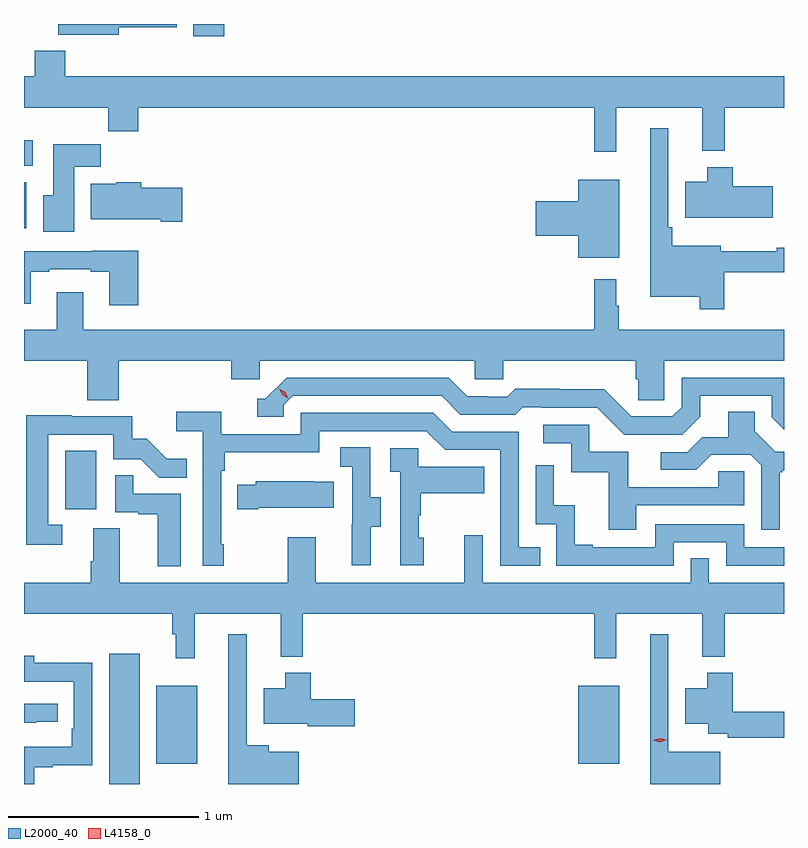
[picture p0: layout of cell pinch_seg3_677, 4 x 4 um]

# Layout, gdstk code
import gdstk
lib = gdstk.Library(unit=1e-6, precision=1e-09)
def R(c, l, rs):  # rectangles x0, y0, x1, y1
    for r in rs: c.add(gdstk.rectangle(r[:2], r[2:], *l))
def P(c, l, *ps):  # polygons
    for p in ps: c.add(gdstk.Polygon(p, *l))
L2000_40 = (2000, 40)
L4158_0 = (4158, 0)

pinch_seg3_677 = lib.new_cell('pinch_seg3_677')
R(pinch_seg3_677, L2000_40, [(1130.141,669.384,1130.302,670.069), (1130.39,669.491,1130.605,669.901), (1132.61,669.491,1132.825,669.901), (1129.91,670.83,1130.074,671.137), (1129.693,672.308,1129.705,672.55), (1129.693,672.638,1129.738,672.772), (1130.585,673.32,1130.746,673.384)])
P(pinch_seg3_677, L2000_40, [(1130.191,673.366),(1130.496,673.366),(1130.496,673.384),(1129.873,673.384),(1129.873,673.328),(1130.191,673.328)],
  [(1132.811,672.944),(1133.264,672.944),(1133.264,672.716),(1133.381,672.716),(1133.381,672.944),(1133.693,672.944),(1133.693,673.108),(1129.91,673.108),(1129.91,673.243),(1129.75,673.243),(1129.75,673.108),(1129.693,673.108),(1129.693,672.944),(1130.137,672.944),(1130.137,672.82),(1130.294,672.82),(1130.294,672.944),(1132.693,672.944),(1132.693,672.711),(1132.811,672.711)],
  [(1133.378,672.078),(1133.693,672.078),(1133.693,672.206),(1133.655,672.206),(1133.655,672.187),(1133.359,672.187),(1133.359,672.217),(1133.105,672.217),(1133.105,672.313),(1133.085,672.313),(1133.085,672.835),(1132.988,672.835),(1132.988,671.948),(1133.25,671.948),(1133.25,671.883),(1133.378,671.883)],
  [(1129.957,672.632),(1130.096,672.632),(1130.096,672.751),(1129.847,672.751),(1129.847,672.484),(1129.793,672.484),(1129.793,672.291),(1129.957,672.291)],
  [(1133.635,672.531),(1133.423,672.531),(1133.423,672.631),(1133.288,672.631),(1133.288,672.553),(1133.174,672.553),(1133.174,672.365),(1133.635,672.365)],
  [(1132.825,672.565),(1132.61,672.565),(1132.61,672.452),(1132.386,672.452),(1132.386,672.269),(1132.61,672.269),(1132.61,672.155),(1132.825,672.155)],
  [(1130.527,672.522),(1130.309,672.522),(1130.309,672.55),(1130.178,672.55),(1130.178,672.544),(1130.045,672.544),(1130.045,672.356),(1130.414,672.356),(1130.414,672.344),(1130.527,672.344)],
  [(1130.294,672.19),(1130.049,672.19),(1130.049,672.189),(1129.693,672.189),(1129.693,671.912),(1129.729,671.912),(1129.729,672.081),(1129.825,672.081),(1129.825,672.093),(1130.045,672.093),(1130.045,672.081),(1130.141,672.081),(1130.141,671.904),(1130.294,671.904)],
  [(1130.192,671.612),(1130.783,671.612),(1130.783,671.514),(1130.934,671.514),(1130.934,671.612),(1132.065,671.612),(1132.065,671.514),(1132.215,671.514),(1132.215,671.612),(1132.913,671.612),(1132.913,671.514),(1132.927,671.514),(1132.927,671.404),(1133.064,671.404),(1133.064,671.612),(1133.693,671.612),(1133.693,671.776),(1132.822,671.776),(1132.822,671.9),(1132.81,671.9),(1132.81,672.04),(1132.693,672.04),(1132.693,671.776),(1130.005,671.776),(1130.005,671.971),(1129.865,671.971),(1129.865,671.776),(1129.693,671.776),(1129.693,671.612),(1130.027,671.612),(1130.027,671.404),(1130.192,671.404)],
  [(1133.251,671.317),(1133.251,671.427),(1133.628,671.427),(1133.628,671.313),(1133.693,671.248),(1133.693,671.523),(1133.154,671.523),(1133.154,671.367),(1133.106,671.319),(1132.89,671.319),(1132.748,671.461),(1132.512,671.461),(1132.512,671.464),(1132.279,671.464),(1132.237,671.421),(1132.134,671.421),(1132.134,671.424),(1132.027,671.424),(1131.928,671.523),(1131.075,671.523),(1130.964,671.412),(1130.921,671.412),(1130.921,671.316),(1131.06,671.316),(1131.06,671.379),(1131.108,671.427),(1131.891,671.427),(1131.99,671.328),(1132.279,671.328),(1132.318,671.367),(1132.417,671.367),(1132.417,671.364),(1132.71,671.364),(1132.851,671.223),(1133.157,671.223)],
  [(1133.671,671.025),(1133.683,671.025),(1133.683,671.036),(1133.693,671.036),(1133.693,671.133),(1133.646,671.133),(1133.539,671.24),(1133.539,671.342),(1133.399,671.342),(1133.399,671.21),(1133.264,671.21),(1133.184,671.13),(1133.043,671.13),(1133.043,671.037),(1133.23,671.037),(1133.311,671.118),(1133.517,671.118),(1133.574,671.061),(1133.574,670.722),(1133.671,670.722)],
  [(1130.743,670.645),(1130.73,670.645),(1130.73,671.033),(1130.75,671.033),(1130.75,671.129),(1131.246,671.129),(1131.246,671.241),(1131.81,671.241),(1131.909,671.142),(1132.2,671.142),(1132.2,670.533),(1132.409,670.533),(1132.409,670.629),(1132.296,670.629),(1132.296,671.238),(1131.946,671.238),(1131.847,671.337),(1131.15,671.337),(1131.15,671.226),(1130.732,671.226),(1130.732,671.342),(1130.493,671.342),(1130.493,671.24),(1130.634,671.24),(1130.634,670.533),(1130.743,670.533)],
  [(1129.894,670.749),(1129.821,670.749),(1129.821,671.223),(1130.163,671.223),(1130.163,671.094),(1130.308,671.094),(1130.406,670.996),(1130.549,670.996),(1130.549,671.095),(1130.445,671.095),(1130.338,671.202),(1130.262,671.202),(1130.262,671.319),(1129.943,671.319),(1129.943,671.324),(1129.705,671.324),(1129.705,670.644),(1129.894,670.644)],
  [(1132.915,670.851),(1133.484,670.851),(1133.484,671.031),(1133.347,671.031),(1133.347,670.947),(1132.873,670.947),(1132.873,671.133),(1132.668,671.133),(1132.668,671.274),(1132.425,671.274),(1132.425,671.178),(1132.572,671.178),(1132.572,671.025),(1132.771,671.025),(1132.771,670.722),(1132.915,670.722)],
  [(1131.517,670.738),(1131.571,670.738),(1131.571,670.893),(1131.516,670.893),(1131.516,671.156),(1131.357,671.156),(1131.357,671.053),(1131.42,671.053),(1131.42,670.749),(1131.419,670.749),(1131.419,670.536),(1131.517,670.536)],
  [(1131.796,670.68),(1131.771,670.68),(1131.771,670.799),(1131.781,670.799),(1131.781,670.913),(1132.115,670.913),(1132.115,671.053),(1131.768,671.053),(1131.768,671.151),(1131.621,671.151),(1131.621,671.027),(1131.672,671.027),(1131.672,670.536),(1131.796,670.536)],
  [(1133.112,670.656),(1133.388,670.656),(1133.388,670.533),(1133.693,670.533),(1133.693,670.629),(1133.484,670.629),(1133.484,670.752),(1133.016,670.752),(1133.016,670.629),(1132.687,670.629),(1132.687,670.642),(1132.592,670.642),(1132.592,670.85),(1132.482,670.85),(1132.482,671.062),(1132.386,671.062),(1132.386,670.752),(1132.494,670.752),(1132.494,670.533),(1133.112,670.533)],
  [(1130.518,670.911),(1130.267,670.911),(1130.267,671.009),(1130.172,671.009),(1130.172,670.815),(1130.293,670.815),(1130.293,670.803),(1130.396,670.803),(1130.396,670.529),(1130.518,670.529)],
  [(1130.926,670.838),(1131.323,670.838),(1131.323,670.975),(1131.215,670.975),(1131.215,670.978),(1130.913,670.978),(1130.913,670.96),(1130.815,670.96),(1130.815,670.831),(1130.926,670.831)],
  [(1130.591,670.28),(1131.044,670.28),(1131.044,670.055),(1131.161,670.055),(1131.161,670.28),(1132.693,670.28),(1132.693,670.047),(1132.811,670.047),(1132.811,670.28),(1133.264,670.28),(1133.264,670.055),(1133.381,670.055),(1133.381,670.28),(1133.693,670.28),(1133.693,670.444),(1133.298,670.444),(1133.298,670.571),(1133.202,670.571),(1133.202,670.444),(1132.107,670.444),(1132.107,670.693),(1132.01,670.693),(1132.01,670.444),(1131.229,670.444),(1131.229,670.684),(1131.082,670.684),(1131.082,670.444),(1130.197,670.444),(1130.197,670.73),(1130.057,670.73),(1130.057,670.556),(1130.045,670.556),(1130.045,670.444),(1129.693,670.444),(1129.693,670.28),(1130.473,670.28),(1130.473,670.172),(1130.492,670.172),(1130.492,670.047),(1130.591,670.047)],
  [(1131.139,669.553),(1130.98,669.553),(1130.98,669.589),(1130.865,669.589),(1130.865,670.171),(1130.768,670.171),(1130.768,669.384),(1131.139,669.384)],
  [(1133.358,669.553),(1133.085,669.553),(1133.085,670.171),(1132.988,670.171),(1132.988,669.384),(1133.358,669.384)],
  [(1129.747,669.471),(1129.843,669.471),(1129.843,669.483),(1130.052,669.483),(1130.052,670.022),(1129.747,670.022),(1129.747,670.06),(1129.693,670.06),(1129.693,669.921),(1129.956,669.921),(1129.956,669.676),(1129.943,669.676),(1129.943,669.58),(1129.693,669.58),(1129.693,669.384),(1129.747,669.384)],
  [(1131.433,669.831),(1131.203,669.831),(1131.203,669.97),(1131.068,669.97),(1131.068,669.889),(1130.954,669.889),(1130.954,669.701),(1131.186,669.701),(1131.186,669.689),(1131.433,669.689)],
  [(1133.693,669.764),(1133.423,669.764),(1133.423,669.97),(1133.288,669.97),(1133.288,669.889),(1133.174,669.889),(1133.174,669.701),(1133.294,669.701),(1133.294,669.648),(1133.398,669.648),(1133.398,669.628),(1133.693,669.628)],
  [(1129.757,669.711),(1129.87,669.711),(1129.87,669.807),(1129.693,669.807),(1129.693,669.706),(1129.757,669.706)])
P(pinch_seg3_677, L4158_0, [(1133.039,669.605),(1133.003,669.613),(1133.003,669.614),(1133.003,669.614),(1133.038,669.625),(1133.075,669.617),(1133.075,669.616),(1133.075,669.616)],
  [(1131.084,671.414),(1131.053,671.432),(1131.037,671.465),(1131.037,671.465),(1131.037,671.465),(1131.068,671.446),(1131.085,671.414),(1131.085,671.414)])

lib.write_gds('pinch_seg3_677.gds')
